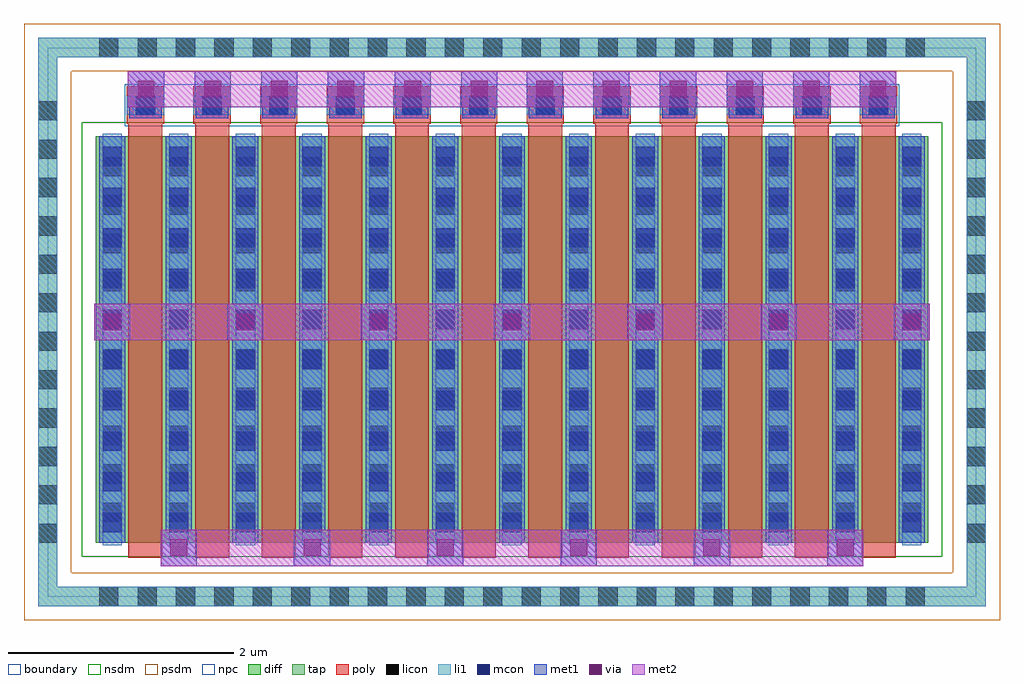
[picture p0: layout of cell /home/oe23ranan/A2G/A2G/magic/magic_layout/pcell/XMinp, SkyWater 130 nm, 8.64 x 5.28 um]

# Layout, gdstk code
import gdstk
lib = gdstk.Library(unit=1e-6, precision=1e-09)
def R(c, l, rs):  # rectangles x0, y0, x1, y1
    for r in rs: c.add(gdstk.rectangle(r[:2], r[2:], *l))
def A(c, l, x, y, w, h, nx, ny, dx, dy):  # array of equal rectangles
    R(c, l, [(x+i*dx, y+j*dy, x+i*dx+w, y+j*dy+h) for i in range(nx) for j in range(ny)])
diff = (65, 20)
tap = (65, 44)
poly = (66, 20)
licon = (66, 44)
li1 = (67, 20)
mcon = (67, 44)
met1 = (68, 20)
via = (68, 44)
met2 = (69, 20)
nsdm = (93, 44)
psdm = (94, 20)
npc = (95, 20)
boundary = (235, 4)

via_m1_m2_1 = lib.new_cell('via_M1_M2_1')
R(via_m1_m2_1, met1, [(-0.16,-0.16,0.16,0.16)])
R(via_m1_m2_1, via, [(-0.075,-0.075,0.075,0.075)])
R(via_m1_m2_1, met2, [(-0.16,-0.16,0.16,0.16)])

xminp_origin = lib.new_cell('XMinp_origin')
R(xminp_origin, diff, [(-3.685,-1.955,3.685,1.645)])
R(xminp_origin, tap, [(-4.195,-2.515,4.195,-2.345), (-4.195,-2.345,-4.025,2.345), (4.025,-2.345,4.195,2.345), (-4.195,2.345,4.195,2.515)])
A(xminp_origin, poly, -3.395, -2.085, 0.3, 3.84, 12, 1, 0.59, 0)
A(xminp_origin, poly, -3.41, 1.755, 0.33, 0.33, 12, 1, 0.59, 0)
A(xminp_origin, licon, -3.655, -2.515, 0.17, 0.17, 22, 2, 0.34, 4.86)
A(xminp_origin, licon, -4.195, -1.955, 0.17, 0.17, 1, 12, 0, 0.34)
A(xminp_origin, licon, 4.025, -1.955, 0.17, 0.17, 1, 12, 0, 0.34)
A(xminp_origin, licon, -3.625, -1.77, 0.17, 0.17, 13, 10, 0.59, 0.34)
A(xminp_origin, licon, -3.33, 1.835, 0.17, 0.17, 12, 1, 0.59, 0)
A(xminp_origin, li1, -3.625, -1.975, 0.17, 3.64, 13, 1, 0.59, 0)
A(xminp_origin, li1, -3.41, 1.835, 0.33, 0.17, 12, 1, 0.59, 0)
R(xminp_origin, li1, [(-4.195,-2.515,4.195,-2.345), (-4.195,-2.345,-4.025,2.345), (4.025,-2.345,4.195,2.345), (-4.195,2.345,4.195,2.515)])
A(xminp_origin, mcon, -3.625, -1.86, 0.17, 0.17, 13, 10, 0.59, 0.36)
A(xminp_origin, mcon, -3.33, 1.835, 0.17, 0.17, 12, 1, 0.59, 0)
A(xminp_origin, met1, -3.655, -1.955, 0.23, 3.6, 13, 1, 0.59, 0)
A(xminp_origin, met1, -3.39, 1.805, 0.29, 0.23, 12, 1, 0.59, 0)
R(xminp_origin, nsdm, [(-3.81,-2.08,3.81,1.77)])
R(xminp_origin, psdm, [(-4.32,-2.64,4.32,-2.22), (-4.32,-2.22,-3.9,2.22), (3.9,-2.22,4.32,2.22), (-4.32,2.22,4.32,2.64)])
R(xminp_origin, npc, [(-3.43,1.735,3.43,2.105)])
R(xminp_origin, boundary, [(-4.11,-2.43,4.11,2.43)])
xminp_origin.add(gdstk.Label('G', (-3.245,1.92), layer=68, texttype=5))
xminp_origin.add(gdstk.Label('G', (-2.655,1.92), layer=68, texttype=5))
xminp_origin.add(gdstk.Label('G', (-2.065,1.92), layer=68, texttype=5))
xminp_origin.add(gdstk.Label('G', (-1.475,1.92), layer=68, texttype=5))
xminp_origin.add(gdstk.Label('G', (-0.885,1.92), layer=68, texttype=5))
xminp_origin.add(gdstk.Label('G', (-0.295,1.92), layer=68, texttype=5))
xminp_origin.add(gdstk.Label('G', (0.295,1.92), layer=68, texttype=5))
xminp_origin.add(gdstk.Label('G', (0.885,1.92), layer=68, texttype=5))
xminp_origin.add(gdstk.Label('G', (1.475,1.92), layer=68, texttype=5))
xminp_origin.add(gdstk.Label('G', (2.065,1.92), layer=68, texttype=5))
xminp_origin.add(gdstk.Label('G', (2.655,1.92), layer=68, texttype=5))
xminp_origin.add(gdstk.Label('G', (3.245,1.92), layer=68, texttype=5))
xminp_origin.add(gdstk.Label('D', (-3.54,-0.155), layer=68, texttype=5))
xminp_origin.add(gdstk.Label('S', (-2.95,-0.155), layer=68, texttype=5))
xminp_origin.add(gdstk.Label('D', (-2.36,-0.155), layer=68, texttype=5))
xminp_origin.add(gdstk.Label('S', (-1.77,-0.155), layer=68, texttype=5))
xminp_origin.add(gdstk.Label('D', (-1.18,-0.155), layer=68, texttype=5))
xminp_origin.add(gdstk.Label('S', (-0.59,-0.155), layer=68, texttype=5))
xminp_origin.add(gdstk.Label('D', (0,-0.155), layer=68, texttype=5))
xminp_origin.add(gdstk.Label('S', (0.59,-0.155), layer=68, texttype=5))
xminp_origin.add(gdstk.Label('D', (1.18,-0.155), layer=68, texttype=5))
xminp_origin.add(gdstk.Label('S', (1.77,-0.155), layer=68, texttype=5))
xminp_origin.add(gdstk.Label('D', (2.36,-0.155), layer=68, texttype=5))
xminp_origin.add(gdstk.Label('S', (2.95,-0.155), layer=68, texttype=5))
xminp_origin.add(gdstk.Label('D', (3.54,-0.155), layer=68, texttype=5))

c__home_oe23ranan_a2g_a2g_ = lib.new_cell('/home/oe23ranan/A2G/A2G/magic/magic_layout/pcell/XMinp')
R(c__home_oe23ranan_a2g_a2g_, met2, [(-3.11,-2.16,3.11,-1.84), (-3.7,-0.16,3.7,0.16), (-3.4,1.9,3.4,2.22)])
c__home_oe23ranan_a2g_a2g_.add(gdstk.Reference(via_m1_m2_1, (-3.54,0)))
c__home_oe23ranan_a2g_a2g_.add(gdstk.Reference(via_m1_m2_1, (-2.95,-2)))
c__home_oe23ranan_a2g_a2g_.add(gdstk.Reference(via_m1_m2_1, (-2.36,0)))
c__home_oe23ranan_a2g_a2g_.add(gdstk.Reference(via_m1_m2_1, (-1.77,-2)))
c__home_oe23ranan_a2g_a2g_.add(gdstk.Reference(via_m1_m2_1, (-1.18,0)))
c__home_oe23ranan_a2g_a2g_.add(gdstk.Reference(via_m1_m2_1, (-0.59,-2)))
c__home_oe23ranan_a2g_a2g_.add(gdstk.Reference(via_m1_m2_1, (0,0)))
c__home_oe23ranan_a2g_a2g_.add(gdstk.Reference(via_m1_m2_1, (1.18,0)))
c__home_oe23ranan_a2g_a2g_.add(gdstk.Reference(via_m1_m2_1, (0.59,-2)))
c__home_oe23ranan_a2g_a2g_.add(gdstk.Reference(via_m1_m2_1, (1.77,-2)))
c__home_oe23ranan_a2g_a2g_.add(gdstk.Reference(via_m1_m2_1, (2.36,0)))
c__home_oe23ranan_a2g_a2g_.add(gdstk.Reference(via_m1_m2_1, (2.95,-2)))
c__home_oe23ranan_a2g_a2g_.add(gdstk.Reference(via_m1_m2_1, (3.54,0)))
c__home_oe23ranan_a2g_a2g_.add(gdstk.Reference(via_m1_m2_1, (3.24,2.06)))
c__home_oe23ranan_a2g_a2g_.add(gdstk.Reference(via_m1_m2_1, (2.65,2.06)))
c__home_oe23ranan_a2g_a2g_.add(gdstk.Reference(via_m1_m2_1, (2.06,2.06)))
c__home_oe23ranan_a2g_a2g_.add(gdstk.Reference(via_m1_m2_1, (1.47,2.06)))
c__home_oe23ranan_a2g_a2g_.add(gdstk.Reference(via_m1_m2_1, (0.88,2.06)))
c__home_oe23ranan_a2g_a2g_.add(gdstk.Reference(via_m1_m2_1, (0.29,2.06)))
c__home_oe23ranan_a2g_a2g_.add(gdstk.Reference(via_m1_m2_1, (-0.29,2.06)))
c__home_oe23ranan_a2g_a2g_.add(gdstk.Reference(via_m1_m2_1, (-0.88,2.06)))
c__home_oe23ranan_a2g_a2g_.add(gdstk.Reference(via_m1_m2_1, (-1.47,2.06)))
c__home_oe23ranan_a2g_a2g_.add(gdstk.Reference(via_m1_m2_1, (-2.06,2.06)))
c__home_oe23ranan_a2g_a2g_.add(gdstk.Reference(via_m1_m2_1, (-2.65,2.06)))
c__home_oe23ranan_a2g_a2g_.add(gdstk.Reference(via_m1_m2_1, (-3.24,2.06)))
c__home_oe23ranan_a2g_a2g_.add(gdstk.Reference(xminp_origin, (0,0)))

lib.write_gds('_home_oe23ranan_A2G_A2G_magic_magic_layout_pcell_XMinp.gds')
